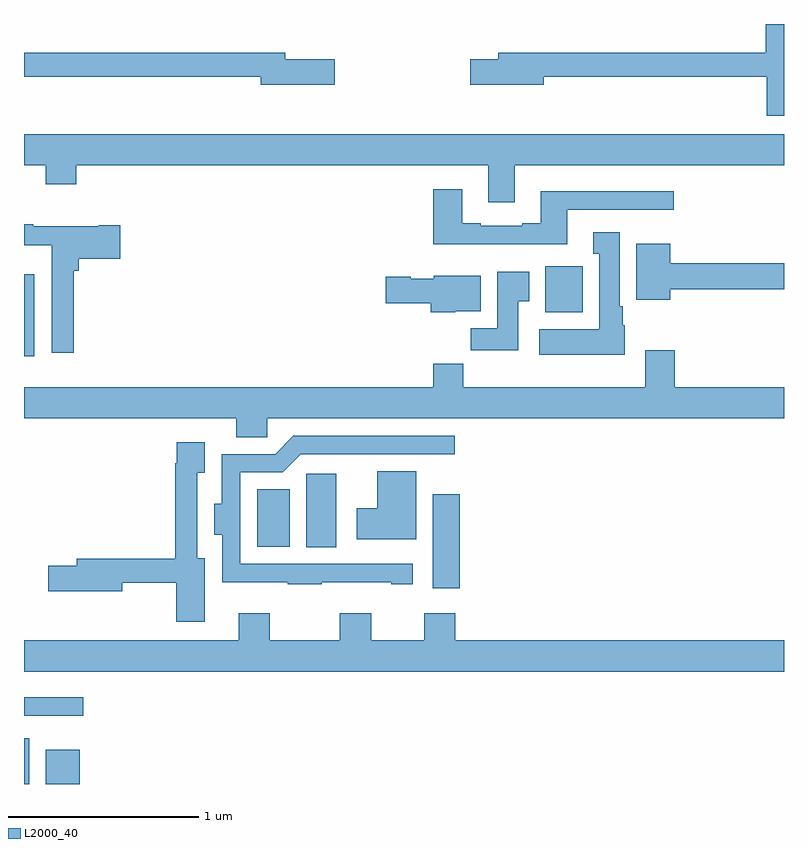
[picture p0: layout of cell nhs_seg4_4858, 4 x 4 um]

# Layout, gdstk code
import gdstk
lib = gdstk.Library(unit=1e-6, precision=1e-09)
def R(c, l, rs):  # rectangles x0, y0, x1, y1
    for r in rs: c.add(gdstk.rectangle(r[:2], r[2:], *l))
def P(c, l, *ps):  # polygons
    for p in ps: c.add(gdstk.Polygon(p, *l))
L2000_40 = (2000, 40)

nhs_seg4_4858 = lib.new_cell('nhs_seg4_4858')
R(nhs_seg4_4858, L2000_40, [(373,790.9,373.027,791.14), (373.115,790.9,373.294,791.08), (373,791.259,373.312,791.356), (375.152,791.931,375.293,792.424), (374.486,792.145,374.644,792.532), (374.228,792.149,374.398,792.451), (373,793.152,373.054,793.582), (375.743,793.382,375.94,793.624)])
P(nhs_seg4_4858, L2000_40, [(377,794.9),(376.903,794.9),(376.903,794.75),(375.497,794.75),(375.497,794.714),(375.348,794.714),(375.348,794.579),(375.736,794.579),(375.736,794.622),(376.91,794.622),(376.91,794.418),(377,794.418)],
  [(374.635,794.714),(374.374,794.714),(374.374,794.75),(373,794.75),(373,794.622),(374.246,794.622),(374.246,794.579),(374.635,794.579)],
  [(375.583,794.156),(377,794.156),(377,794.32),(373,794.32),(373,794.156),(373.114,794.156),(373.114,794.057),(373.274,794.057),(373.274,794.156),(375.443,794.156),(375.443,793.962),(375.583,793.962)],
  [(375.859,793.923),(376.42,793.923),(376.42,794.02),(375.719,794.02),(375.719,793.852),(375.623,793.852),(375.623,793.839),(375.403,793.839),(375.403,793.852),(375.307,793.852),(375.307,794.029),(375.155,794.029),(375.155,793.742),(375.859,793.742)],
  [(373.262,793.601),(373.289,793.601),(373.289,793.664),(373.507,793.664),(373.507,793.842),(373.394,793.842),(373.394,793.836),(373.049,793.836),(373.049,793.846),(373,793.846),(373,793.736),(373.146,793.736),(373.146,793.17),(373.262,793.17)],
  [(376.162,793.314),(376.15,793.314),(376.15,793.414),(376.135,793.414),(376.135,793.804),(375.995,793.804),(375.995,793.691),(376.028,793.691),(376.028,793.294),(375.711,793.294),(375.711,793.16),(376.162,793.16)],
  [(376.402,793.504),(377,793.504),(377,793.64),(376.402,793.64),(376.402,793.744),(376.223,793.744),(376.223,793.448),(376.402,793.448)],
  [(375.601,793.441),(375.658,793.441),(375.658,793.597),(375.491,793.597),(375.491,793.3),(375.352,793.3),(375.352,793.182),(375.601,793.182)],
  [(375.27,793.388),(375.403,793.388),(375.403,793.576),(375.156,793.576),(375.156,793.558),(375.036,793.558),(375.036,793.571),(374.904,793.571),(374.904,793.429),(375.14,793.429),(375.14,793.382),(375.27,793.382)],
  [(374.28,792.824),(377,792.824),(377,792.988),(376.424,792.988),(376.424,793.183),(376.271,793.183),(376.271,792.988),(375.311,792.988),(375.311,793.112),(375.155,793.112),(375.155,792.988),(373,792.988),(373,792.824),(374.117,792.824),(374.117,792.726),(374.28,792.726)],
  [(374.567,791.963),(374.933,791.963),(374.933,791.952),(375.046,791.952),(375.046,792.06),(374.139,792.06),(374.139,792.54),(374.361,792.54),(374.457,792.636),(375.268,792.636),(375.268,792.732),(374.418,792.732),(374.322,792.636),(374.042,792.636),(374.042,792.376),(374,792.376),(374,792.212),(374.043,792.212),(374.043,791.963),(374.389,791.963),(374.389,791.952),(374.567,791.952)],
  [(373.951,792.088),(373.911,792.088),(373.911,792.539),(373.951,792.539),(373.951,792.7),(373.803,792.7),(373.803,792.587),(373.795,792.587),(373.795,792.086),(373.277,792.086),(373.277,792.05),(373.128,792.05),(373.128,791.915),(373.516,791.915),(373.516,791.958),(373.802,791.958),(373.802,791.754),(373.951,791.754)],
  [(375.064,792.547),(374.858,792.547),(374.858,792.352),(374.751,792.352),(374.751,792.188),(375.064,792.188)],
  [(377,791.656),(375.271,791.656),(375.271,791.8),(375.107,791.8),(375.107,791.656),(374.827,791.656),(374.827,791.8),(374.663,791.8),(374.663,791.656),(374.293,791.656),(374.293,791.8),(374.129,791.8),(374.129,791.656),(373,791.656),(373,791.492),(377,791.492)])

lib.write_gds('nhs_seg4_4858.gds')
